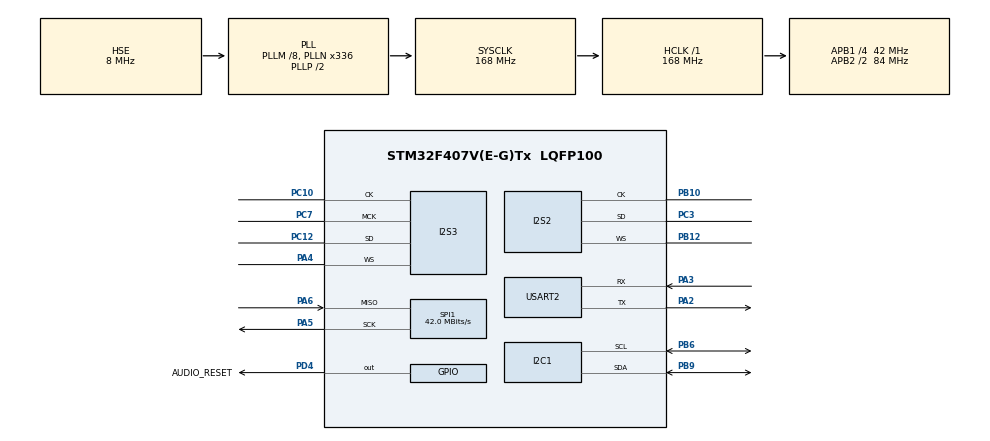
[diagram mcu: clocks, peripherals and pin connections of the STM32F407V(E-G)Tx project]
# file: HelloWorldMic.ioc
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Dma.Request0=SPI2_RX
Dma.Request1=SPI3_TX
Dma.Request2=USART2_TX
Dma.SPI2_RX.0.Direction=DMA_PERIPH_TO_MEMORY
Dma.SPI2_RX.0.FIFOMode=DMA_FIFOMODE_DISABLE
Dma.SPI2_RX.0.Instance=DMA1_Stream3
Dma.SPI2_RX.0.MemDataAlignment=DMA_MDATAALIGN_HALFWORD
Dma.SPI2_RX.0.MemInc=DMA_MINC_ENABLE
Dma.SPI2_RX.0.Mode=DMA_CIRCULAR
Dma.SPI2_RX.0.PeriphDataAlignment=DMA_PDATAALIGN_HALFWORD
Dma.SPI2_RX.0.PeriphInc=DMA_PINC_DISABLE
Dma.SPI2_RX.0.Priority=DMA_PRIORITY_LOW
Dma.SPI3_TX.1.Direction=DMA_MEMORY_TO_PERIPH
Dma.SPI3_TX.1.FIFOMode=DMA_FIFOMODE_DISABLE
Dma.SPI3_TX.1.Instance=DMA1_Stream5
Dma.SPI3_TX.1.MemDataAlignment=DMA_MDATAALIGN_HALFWORD
Dma.SPI3_TX.1.MemInc=DMA_MINC_ENABLE
Dma.SPI3_TX.1.Mode=DMA_CIRCULAR
Dma.SPI3_TX.1.PeriphDataAlignment=DMA_PDATAALIGN_HALFWORD
Dma.SPI3_TX.1.PeriphInc=DMA_PINC_DISABLE
Dma.SPI3_TX.1.Priority=DMA_PRIORITY_LOW
Dma.USART2_TX.2.Direction=DMA_MEMORY_TO_PERIPH
Dma.USART2_TX.2.FIFOMode=DMA_FIFOMODE_DISABLE
Dma.USART2_TX.2.Instance=DMA1_Stream6
Dma.USART2_TX.2.MemDataAlignment=DMA_MDATAALIGN_BYTE
Dma.USART2_TX.2.MemInc=DMA_MINC_ENABLE
Dma.USART2_TX.2.Mode=DMA_NORMAL
Dma.USART2_TX.2.PeriphDataAlignment=DMA_PDATAALIGN_BYTE
Dma.USART2_TX.2.PeriphInc=DMA_PINC_DISABLE
Dma.USART2_TX.2.Priority=DMA_PRIORITY_LOW
I2S2.AudioFreq=AudioFreqCustomValue
I2S2.AudioFreqCustom=64000
I2S2.ErrorAudioFreq=-0.26 %
I2S2.FullDuplexMode=I2S_FULLDUPLEXMODE_DISABLE
I2S2.Instance=SPI$Index
I2S2.Mode=I2S_MODE_MASTER_RX
I2S2.RealAudioFreq=63.829 KHz
I2S2.Standard=I2S_STANDARD_PHILIPS
I2S2.VirtualMode=I2S_MODE_MASTER
I2S3.AudioFreq=I2S_AUDIOFREQ_32K
I2S3.DataFormat=I2S_DATAFORMAT_16B
I2S3.ErrorAudioFreq=1.9 %
I2S3.FullDuplexMode=I2S_FULLDUPLEXMODE_DISABLE
I2S3.Instance=SPI$Index
I2S3.RealAudioFreq=32.608 KHz
I2S3.VirtualMode=I2S_MODE_MASTER
Mcu.Family=STM32F4
Mcu.Name=STM32F407V(E-G)Tx
Mcu.Package=LQFP100
NVIC.DMA1_Stream3_IRQn=true\:0\:0\:false\:false\:true\:false\:true\:true
NVIC.DMA1_Stream5_IRQn=true\:0\:0\:false\:false\:true\:false\:true\:true
NVIC.DMA1_Stream6_IRQn=true\:0\:0\:false\:false\:true\:false\:true\:true
NVIC.I2C1_ER_IRQn=true\:0\:0\:false\:false\:true\:true\:true\:true
NVIC.I2C1_EV_IRQn=true\:0\:0\:false\:false\:true\:true\:true\:true
NVIC.PriorityGroup=NVIC_PRIORITYGROUP_0
NVIC.SPI2_IRQn=true\:0\:0\:false\:false\:true\:true\:true\:true
NVIC.SPI3_IRQn=true\:0\:0\:false\:false\:true\:true\:true\:true
NVIC.USART2_IRQn=true\:0\:0\:false\:false\:true\:true\:true\:true
PA2.Mode=Asynchronous
PA2.Signal=USART2_TX
PA3.Mode=Asynchronous
PA3.Signal=USART2_RX
PA4.Mode=Half_Duplex_Master
PA4.Signal=I2S3_WS
PA5.Mode=RX_Only_Simplex_Unidirect_Master
PA5.Signal=SPI1_SCK
PA6.Mode=RX_Only_Simplex_Unidirect_Master
PA6.Signal=SPI1_MISO
PB10.Mode=Half_Duplex_Master
PB10.Signal=I2S2_CK
PB12.Mode=Half_Duplex_Master
PB12.Signal=I2S2_WS
PB6.GPIO_Pu=GPIO_PULLUP
PB6.Mode=I2C
PB6.Signal=I2C1_SCL
PB9.GPIO_Pu=GPIO_PULLUP
PB9.Mode=I2C
PB9.Signal=I2C1_SDA
PC10.Mode=Half_Duplex_Master
PC10.Signal=I2S3_CK
PC12.Mode=Half_Duplex_Master
PC12.Signal=I2S3_SD
PC3.Mode=Half_Duplex_Master
PC3.Signal=I2S2_SD
PC7.Mode=Master_Clock_Activated
PC7.Signal=I2S3_MCK
PD4.GPIO_Label=AUDIO_RESET
PD4.GPIO_PuPd=GPIO_NOPULL
PD4.Signal=GPIO_Output
PDM2PCM.CHANNEL1_in_ptr_channels=1
PDM2PCM.CHANNEL1_out_ptr_channels=1
PH0-OSC_IN.Mode=HSE-External-Oscillator
PH0-OSC_IN.Signal=RCC_OSC_IN
PH1-OSC_OUT.Mode=HSE-External-Oscillator
PH1-OSC_OUT.Signal=RCC_OSC_OUT
ProjectManager.HeapSize=0x200
ProjectManager.StackSize=0x400
ProjectManager.TargetToolchain=STM32CubeIDE
RCC.48MHZClocksFreq_Value=48000000
RCC.AHBFreq_Value=168000000
RCC.APB1CLKDivider=RCC_HCLK_DIV4
RCC.APB1Freq_Value=42000000
RCC.APB1TimFreq_Value=84000000
RCC.APB2CLKDivider=RCC_HCLK_DIV2
RCC.APB2Freq_Value=84000000
RCC.APB2TimFreq_Value=168000000
RCC.CortexFreq_Value=168000000
RCC.HCLKFreq_Value=168000000
RCC.HSE_VALUE=8000000
RCC.HSI_VALUE=16000000
RCC.LSE_VALUE=32768
RCC.PLLI2SN=384
RCC.PLLM=8
RCC.PLLN=336
RCC.PLLQ=7
RCC.PLLSourceVirtual=RCC_PLLSOURCE_HSE
RCC.SYSCLKFreq_VALUE=168000000
RCC.SYSCLKSource=RCC_SYSCLKSOURCE_PLLCLK
RCC.VCOOutputFreq_Value=336000000
SPI1.BaudRatePrescaler=SPI_BAUDRATEPRESCALER_2
SPI1.CalculateBaudRate=42.0 MBits/s
SPI1.Direction=SPI_DIRECTION_2LINES_RXONLY
SPI1.Mode=SPI_MODE_MASTER
SPI1.VirtualType=VM_MASTER
USART2.VirtualMode=VM_ASYNC
VP_CRC_VS_CRC.Mode=CRC_Activate
VP_PDM2PCM_VS_PDM2PCM.Mode=PDM2PCM_Channel
board=STM32F407G-DISC1

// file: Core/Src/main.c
/* USER CODE BEGIN Header */
/**
  ******************************************************************************
  * @file           : main.c
  * @brief          : Main program body
  ******************************************************************************
  * @attention
  *
  * Copyright (c) 2025 STMicroelectronics.
  * All rights reserved.
  *
  * This software is licensed under terms that can be found in the LICENSE file
  * in the root directory of this software component.
  * If no LICENSE file comes with this software, it is provided AS-IS.
  *
  ******************************************************************************
  */
/* USER CODE END Header */
#include "main.h"
#include "crc.h"
#include "dma.h"
#include "i2c.h"
#include "i2s.h"
#include "pdm2pcm.h"
#include "spi.h"
#include "usart.h"
#include "gpio.h"

/* USER CODE BEGIN Includes */
#include <stdint.h>
#include <string.h>
#include "../Components/cs43l22/cs43l22.h"
#include "../STM32F4-Discovery/stm32f4_discovery.h"
/* USER CODE END Includes */

/* USER CODE BEGIN PTD */
enum ERROR{
	CHILL = -20,
	PDM2PCM = -21,
	CODEC = -22,
	I2S_TX = -23,
	I2S_RX = -24,
	CODEC_PLAY = -25,
	OVR = -26,
	UDR = -27,
};
/* USER CODE END PTD */

/* USER CODE BEGIN PD */
#define PCM_SAMPLING_FREQ       32000U  // Salida PCM deseada en Hz
#define PDM_MIC_CHANNELS        1U      // Micrófono PDM es mono
#define PCM_OUT_CHANNELS        1U
#define CODEC_PCM_OUT_CHANNELS  2U
#define AUDIO_FREQ_PDM_HAL      64000U
#define PCM_MONO_SAMPLES_PER_HALF_BUFFER    (16 * 32) // 512 muestras MONO; 16 llamadas a MX_PDM2PCM_Process
#define PCM_STEREO_OUTPUT_HALF_BUFFER_SIZE_UINT16  (PCM_MONO_SAMPLES_PER_HALF_BUFFER * CODEC_PCM_OUT_CHANNELS) // 256 * 2 = 512
#define PDM_BYTES_PER_PROCESS_CALL         (16 * (64 / 8U)) // 16 * 8 = 128 bytes PDM
#define NUM_PDM_PROCESS_CALLS_PER_HALF_BUFFER (PCM_MONO_SAMPLES_PER_HALF_BUFFER / 16) // 256 / 16 = 16
#define PDM_RAW_INPUT_HALF_BUFFER_SIZE_BYTES       (PDM_BYTES_PER_PROCESS_CALL * NUM_PDM_PROCESS_CALLS_PER_HALF_BUFFER) // 128 * 16 = 2048 bytes
#define PDM_RAW_INPUT_HALF_BUFFER_SIZE_UINT16      (PDM_RAW_INPUT_HALF_BUFFER_SIZE_BYTES / 2U) // 1024
#define CS43L22_ADDRESS         0x94U  // Dirección I2C de 8 bits para CS43L22 (0x4A << 1)
/* USER CODE END PD */

/* USER CODE BEGIN PV */
uint16_t pdm_raw_buffer[2][PDM_RAW_INPUT_HALF_BUFFER_SIZE_UINT16];
int16_t  pcm_mono_processed_half_buffer[PCM_MONO_SAMPLES_PER_HALF_BUFFER]; // << VUELVE EL BUFFER MONO
uint16_t pcm_stereo_output_buffer[2][PCM_STEREO_OUTPUT_HALF_BUFFER_SIZE_UINT16];

volatile uint8_t pdm_input_buffer_idx = 2;
volatile uint8_t pcm_output_buffer_ready_for_filling_idx = 0;
extern PDM_Filter_Config_t PDM1_filter_config;
enum ERROR e = CHILL;
/* USER CODE END PV */

void SystemClock_Config(void);
void PeriphCommonClock_Config(void);

int main(void)
{

  /* USER CODE BEGIN 1 */
	uint8_t initial_codec_volume = 120;
	uint16_t pdm_buffer_offset_uint16 = 0;
	uint16_t pcm_mono_buffer_offset = 0; // Offset para pcm_mono_processed_half_buffer

  /* USER CODE END 1 */

  /* MCU Configuration--------------------------------------------------------*/

  /* Reset of all peripherals, Initializes the Flash interface and the Systick. */
  HAL_Init();

  /* Configure the system clock */
  SystemClock_Config();

  /* Configure the peripherals common clocks */
  PeriphCommonClock_Config();

  /* Initialize all configured peripherals */
  MX_GPIO_Init();
  MX_DMA_Init();
  MX_CRC_Init();
  MX_PDM2PCM_Init();
  MX_I2S2_Init();
  MX_I2C1_Init();
  MX_I2S3_Init();
  MX_SPI1_Init();
  MX_USART2_UART_Init();
  /* USER CODE BEGIN 2 */

  if (cs43l22_Init(CS43L22_ADDRESS, OUTPUT_DEVICE_HEADPHONE, initial_codec_volume, PCM_SAMPLING_FREQ) != 0) {
      e = CODEC;
      Error_Handler();
  }

  if (cs43l22_Play(CS43L22_ADDRESS, NULL, 0) != 0) {
	  e = CODEC;
      Error_Handler();
  }

  memset(pcm_stereo_output_buffer, 0, sizeof(pcm_stereo_output_buffer));

  if (HAL_I2S_Transmit_DMA(&hi2s3, (uint16_t *)pcm_stereo_output_buffer, PCM_STEREO_OUTPUT_HALF_BUFFER_SIZE_UINT16 * 2) != HAL_OK) {
    Error_Handler();
  }

  if (HAL_I2S_Receive_DMA(&hi2s2, (uint16_t *)pdm_raw_buffer, PDM_RAW_INPUT_HALF_BUFFER_SIZE_UINT16 * 2) != HAL_OK) {
    Error_Handler();
  }

  /* USER CODE END 2 */

  /* Infinite loop */
  /* USER CODE BEGIN WHILE */
  while (1)
  {
	  if (pdm_input_buffer_idx != 2) { // Un buffer PDM está listo (0 o 1)
	        uint16_t* pdm_half_buffer_start_ptr;
	        uint16_t* pcm_stereo_half_buffer_start_ptr;

	        if (pdm_input_buffer_idx == 0) {
	          pdm_half_buffer_start_ptr = pdm_raw_buffer[0];
	        } else {
	          pdm_half_buffer_start_ptr = pdm_raw_buffer[1];
	        }

	        // Procesar el PDM_RAW_INPUT_HALF_BUFFER en trozos, llenando pcm_mono_processed_half_buffer
	        pdm_buffer_offset_uint16 = 0;
	        pcm_mono_buffer_offset = 0; // Offset para pcm_mono_processed_half_buffer

	        for (int i = 0; i < NUM_PDM_PROCESS_CALLS_PER_HALF_BUFFER; i++) {
	          // MX_PDM2PCM_Process ahora toma (uint16_t *PDMBuf, uint16_t *PCMBuf)
	          // y PDM1_filter_config.output_samples_number = 16 (mono)
	          if (MX_PDM2PCM_Process(
	                  pdm_half_buffer_start_ptr + pdm_buffer_offset_uint16,
	                  (uint16_t*)(pcm_mono_processed_half_buffer + pcm_mono_buffer_offset) // Escribe 16 muestras mono aquí
	               ) != 0) { // Retorna 0 para éxito
	              e = PDM2PCM;
	          }
	          pdm_buffer_offset_uint16 += (PDM_BYTES_PER_PROCESS_CALL / 2U);
	          pcm_mono_buffer_offset += PDM1_filter_config.output_samples_number; // Avanza por 16 muestras mono
	        }

	        // Ahora que pcm_mono_processed_half_buffer está lleno, espera a que un buffer de salida estéreo esté libre
	        while (pcm_output_buffer_ready_for_filling_idx == 2) { /* Espera ocupada */ }

	        if (pcm_output_buffer_ready_for_filling_idx == 0) {
	          pcm_stereo_half_buffer_start_ptr = pcm_stereo_output_buffer[0];
	        } else { // pcm_output_buffer_ready_for_filling_idx == 1
	          pcm_stereo_half_buffer_start_ptr = pcm_stereo_output_buffer[1];
	        }

	        // Convertir el pcm_mono_processed_half_buffer a pcm_stereo_half_buffer_start_ptr
	        for (uint16_t i = 0; i < PCM_MONO_SAMPLES_PER_HALF_BUFFER; i++) {
	          pcm_stereo_half_buffer_start_ptr[i * 2]     = (uint16_t)pcm_mono_processed_half_buffer[i];
	          pcm_stereo_half_buffer_start_ptr[i * 2 + 1] = (uint16_t)pcm_mono_processed_half_buffer[i];
	        }

	        pdm_input_buffer_idx = 2;
	        pcm_output_buffer_ready_for_filling_idx = 2;
	      }
    /* USER CODE END WHILE */

  }
}

void SystemClock_Config(void)
{
  RCC_OscInitTypeDef RCC_OscInitStruct = {0};
  RCC_ClkInitTypeDef RCC_ClkInitStruct = {0};

  /** Configure the main internal regulator output voltage
  */
  __HAL_RCC_PWR_CLK_ENABLE();
  __HAL_PWR_VOLTAGESCALING_CONFIG(PWR_REGULATOR_VOLTAGE_SCALE1);

  /** Initializes the RCC Oscillators according to the specified parameters
  * in the RCC_OscInitTypeDef structure.
  */
  RCC_OscInitStruct.OscillatorType = RCC_OSCILLATORTYPE_HSE;
  RCC_OscInitStruct.HSEState = RCC_HSE_ON;
  RCC_OscInitStruct.PLL.PLLState = RCC_PLL_ON;
  RCC_OscInitStruct.PLL.PLLSource = RCC_PLLSOURCE_HSE;
  RCC_OscInitStruct.PLL.PLLM = 8;
  RCC_OscInitStruct.PLL.PLLN = 336;
  RCC_OscInitStruct.PLL.PLLP = RCC_PLLP_DIV2;
  RCC_OscInitStruct.PLL.PLLQ = 7;
  if (HAL_RCC_OscConfig(&RCC_OscInitStruct) != HAL_OK)
  {
    Error_Handler();
  }

  /** Initializes the CPU, AHB and APB buses clocks
  */
  RCC_ClkInitStruct.ClockType = RCC_CLOCKTYPE_HCLK|RCC_CLOCKTYPE_SYSCLK
                              |RCC_CLOCKTYPE_PCLK1|RCC_CLOCKTYPE_PCLK2;
  RCC_ClkInitStruct.SYSCLKSource = RCC_SYSCLKSOURCE_PLLCLK;
  RCC_ClkInitStruct.AHBCLKDivider = RCC_SYSCLK_DIV1;
  RCC_ClkInitStruct.APB1CLKDivider = RCC_HCLK_DIV4;
  RCC_ClkInitStruct.APB2CLKDivider = RCC_HCLK_DIV2;

  if (HAL_RCC_ClockConfig(&RCC_ClkInitStruct, FLASH_LATENCY_5) != HAL_OK)
  {
    Error_Handler();
  }
}

void PeriphCommonClock_Config(void)
{
  RCC_PeriphCLKInitTypeDef PeriphClkInitStruct = {0};

  /** Initializes the peripherals clock
  */
  PeriphClkInitStruct.PeriphClockSelection = RCC_PERIPHCLK_I2S;
  PeriphClkInitStruct.PLLI2S.PLLI2SN = 384;
  PeriphClkInitStruct.PLLI2S.PLLI2SR = 2;
  if (HAL_RCCEx_PeriphCLKConfig(&PeriphClkInitStruct) != HAL_OK)
  {
    Error_Handler();
  }
}

/* USER CODE BEGIN 4 */
void HAL_I2S_RxHalfCpltCallback(I2S_HandleTypeDef *hi2s)
{
  if (hi2s->Instance == SPI2) {
    pdm_input_buffer_idx = 0;
  }
}

void HAL_I2S_RxCpltCallback(I2S_HandleTypeDef *hi2s)
{
  if (hi2s->Instance == SPI2) {
    pdm_input_buffer_idx = 1;
  }
}

void HAL_I2S_TxHalfCpltCallback(I2S_HandleTypeDef *hi2s)
{
  if (hi2s->Instance == SPI3) {
    pcm_output_buffer_ready_for_filling_idx = 0;
  }
}

void HAL_I2S_TxCpltCallback(I2S_HandleTypeDef *hi2s)
{
  if (hi2s->Instance == SPI3) {
     pcm_output_buffer_ready_for_filling_idx = 1;
  }
}

void HAL_I2S_ErrorCallback(I2S_HandleTypeDef *hi2s)
{
  if (hi2s->Instance == SPI2) { // I2S2 para PDM Mic
	if (hi2s->ErrorCode & HAL_I2S_ERROR_OVR) {
	  e = OVR;
	}
  } else if (hi2s->Instance == SPI3) { // I2S3 para CODEC
	if (hi2s->ErrorCode & HAL_I2S_ERROR_UDR) {
	  e = UDR;
	}
  }
}

/* USER CODE END 4 */

void Error_Handler(void)
{
  __disable_irq();
  while (1)
  {
  }
}
